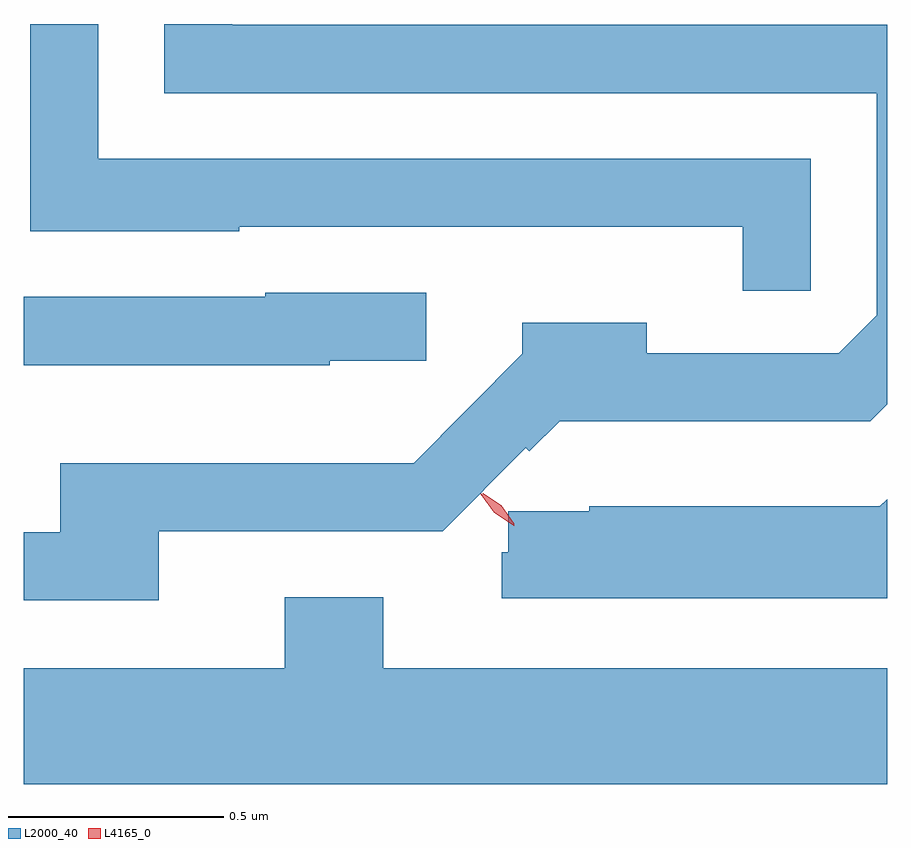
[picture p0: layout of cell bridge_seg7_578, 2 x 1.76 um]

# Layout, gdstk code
import gdstk
lib = gdstk.Library(unit=1e-6, precision=1e-09)
def P(c, l, *ps):  # polygons
    for p in ps: c.add(gdstk.Polygon(p, *l))
L2000_40 = (2000, 40)
L4165_0 = (4165, 0)

bridge_seg7_578 = lib.new_cell('bridge_seg7_578')
P(bridge_seg7_578, L2000_40, [(1036.709,1762.384),(1035.059,1762.384),(1035.059,1762.696),(1034.901,1762.696),(1034.901,1762.216),(1035.385,1762.216),(1035.385,1762.226),(1036.551,1762.226),(1036.551,1762.078),(1036.709,1762.078)],
  [(1035.199,1761.521),(1035.856,1761.521),(1036.049,1761.715),(1036.057,1761.707),(1036.127,1761.776),(1036.847,1761.776),(1036.886,1761.815),(1036.886,1762.694),(1035.369,1762.694),(1035.369,1762.696),(1035.211,1762.696),(1035.211,1762.536),(1036.861,1762.536),(1036.861,1762.022),(1036.774,1761.934),(1036.329,1761.934),(1036.329,1762.004),(1036.041,1762.004),(1036.041,1761.932),(1035.789,1761.679),(1034.971,1761.679),(1034.971,1761.519),(1034.886,1761.519),(1034.886,1761.361),(1035.199,1761.361)],
  [(1035.595,1761.916),(1035.818,1761.916),(1035.818,1762.074),(1035.445,1762.074),(1035.445,1762.064),(1034.886,1762.064),(1034.886,1761.906),(1035.595,1761.906)],
  [(1036.886,1761.596),(1036.869,1761.579),(1036.196,1761.579),(1036.196,1761.568),(1036.008,1761.568),(1036.008,1761.473),(1035.993,1761.473),(1035.993,1761.366),(1036.886,1761.366)],
  [(1036.886,1761.204),(1035.719,1761.204),(1035.719,1761.369),(1035.491,1761.369),(1035.491,1761.204),(1034.886,1761.204),(1034.886,1760.936),(1036.886,1760.936)])
P(bridge_seg7_578, L4165_0, [(1036.021,1761.534),(1035.976,1761.564),(1035.945,1761.607),(1035.945,1761.608),(1035.946,1761.608),(1035.99,1761.578),(1036.022,1761.535),(1036.022,1761.534)],
  [(1036.021,1761.538),(1035.978,1761.566),(1035.949,1761.608),(1035.949,1761.609),(1035.95,1761.609),(1035.992,1761.581),(1036.022,1761.539),(1036.022,1761.538)])

lib.write_gds('bridge_seg7_578.gds')
